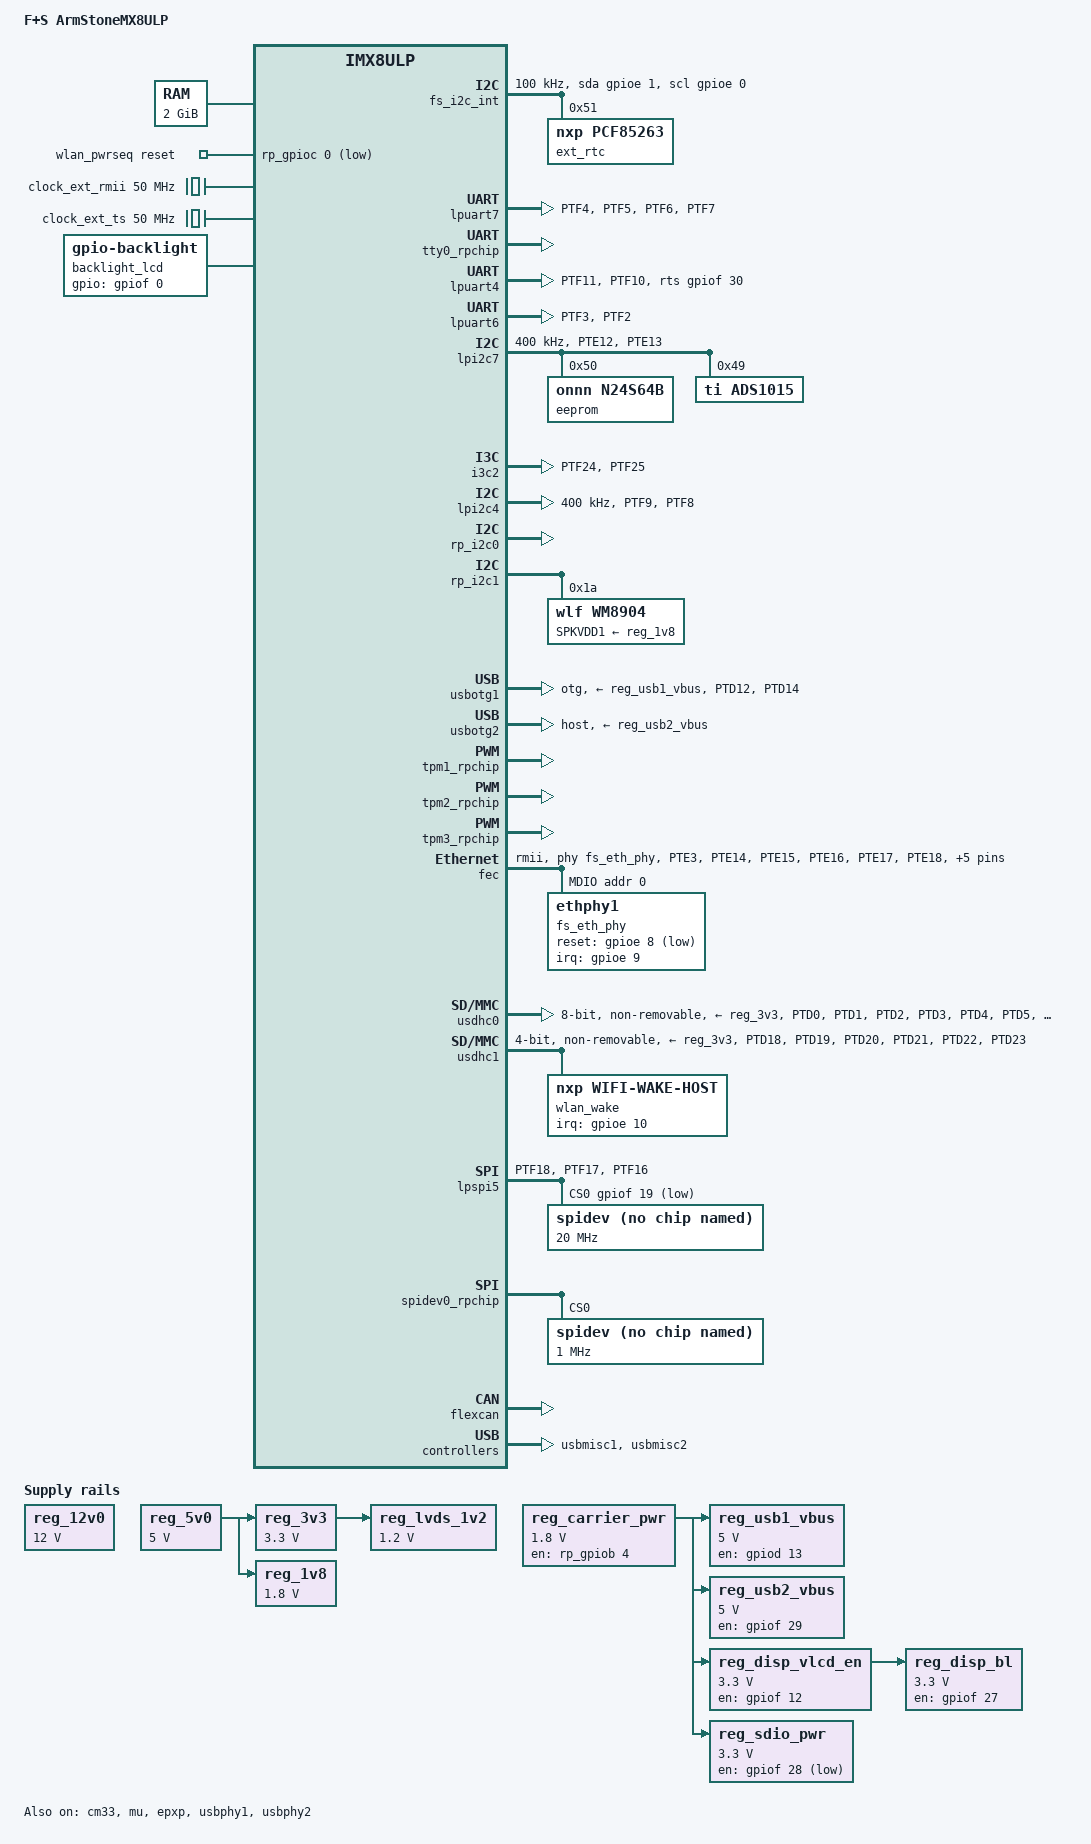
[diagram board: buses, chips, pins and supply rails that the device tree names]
// SPDX-License-Identifier: GPL-2.0
/*
* Copyright 2026 F&S Elektronik Systeme GmbH
*
* This program is free software; you can redistribute it and/or modify
* it under the terms of the GNU General Public License version 2 as
* published by the Free Software Foundation.
*
* This program is distributed in the hope that it will be useful,
* but WITHOUT ANY WARRANTY; without even the implied warranty of
* MERCHANTABILITY or FITNESS FOR A PARTICULAR PURPOSE.  See the
* GNU General Public License for more details.
*/

#include "imx8ulp.dtsi"
#include "fsimx8ulp-rpmsg.dtsi"
#include <dt-bindings/rtc/pcf85363.h>
#include <dt-bindings/input/input.h>
#include <dt-bindings/i3c/i3c.h>
#include <fsversion.h>

#define OSM8ULP_REV 100

#define CONFIG_ARMSTONEMX8ULP_LVDS
// #define CONFIG_ARMSTONEMX8ULP_MIPI_DSI
#define CONFIG_ARMSTONEMX8ULP_WLAN

fs_uart_a: &lpuart7 {};
fs_uart_b: &tty0_rpchip {};
fs_uart_c: &lpuart4 {};
fs_uart_d: &lpuart6 {};
/* UART_E is M33 DBG */
fs_i2c_a: &lpi2c7 {};
fs_i2c_b: &i3c2 {};
fs_i2c_c: &lpi2c4 {};
fs_i2c_d: &rp_i2c0 {};
fs_i2c_e: &rp_i2c1 {};
fs_usb_a: &usbotg1 {};
fs_usb_b: &usbotg2 {};
fs_pwm_1: &tpm1_rpchip {};
fs_pwm_2: &tpm2_rpchip {};
fs_pwm_3: &tpm3_rpchip {};
fs_eth: &fec {};
emmc: &usdhc0 {};
sdio: &usdhc1 {};
fs_spi_a: &lpspi5 {};
fs_spi_b: &spidev0_rpchip {};

/ {
	model = "F+S ArmStoneMX8ULP";
	compatible = "fus,armstonemx8ulp", "fsl,imx8ulp";

	chosen {
		bootargs = "console=ttyLP0, 115200";
		stdout-path = &fs_uart_a;
	};

	/delete-node/ aliases;
	aliases {
		ethernet0 = &fs_eth;
		serial0 = &fs_uart_a;
		serial1 = &fs_uart_b;
		serial2 = &fs_uart_c;
		serial3 = &fs_uart_d;
		i2c0 = &fs_i2c_int;
		i2c1 = &fs_i2c_a;
		i2c2 = &fs_i2c_b;
		i2c3 = &fs_i2c_c;
		i2c4 = &fs_i2c_d;
		i2c5 = &fs_i2c_e;
		mmc0 = &emmc;
		mmc1 = &sdio;
		gpio0 = &rp_gpioa;
		gpio1 = &rp_gpiob;
		gpio2 = &rp_gpioc;
		gpio3 = &gpiod;
		gpio4 = &gpioe;
		gpio5 = &gpiof;
		usbphy0 = &usbphy1;
		usbphy1 = &usbphy2;
		usb0 = &fs_usb_a;
		usb1 = &fs_usb_b;
		rtc0 = &ext_rtc;
		pwm1 = &fs_pwm_1;
		pwm2 = &fs_pwm_2;
		pwm3 = &fs_pwm_3;
		isi0 = &isi_0;
		csi0 = &mipi_csi0;
		spi0 = &fs_spi_a;
		spi1 = &fs_spi_b;
	};

	/* -------------------- BOARD INFO -------------------- */
	bdinfo: bdinfo {
		compatible = "bdinfo";
		dts_version = FS_LINUX_VERSION;
	};

	memory@80000000 {
		/* fixup in u-boot */
		device_type = "memory";
		reg = <0x0 0x80000000 0 0x80000000>;
	};

	reserved-memory {
		#address-cells = <2>;
		#size-cells = <2>;
		ranges;

		linux,cma {
			compatible = "shared-dma-pool";
			reusable;
			size = <0 0x10000000>; /* 256MB */
			linux,cma-default;
		};

		ele_reserved: ele-reserved@90000000 {
			compatible = "shared-dma-pool";
			reg = <0 0x90000000 0 0x100000>;
			no-map;
		};
	};

	regulators {
		compatible = "simple-bus";
		#address-cells = <1>;
		#size-cells = <0>;

		reg_12v0: regulator-12v {
			compatible = "regulator-fixed";
			regulator-name = "V_BL_IN";
			regulator-min-microvolt = <12000000>;
			regulator-max-microvolt = <12000000>;
			regulator-always-on;
			regulator-boot-on;
		};

		reg_5v0: regulator-5v {
			compatible = "regulator-fixed";
			regulator-name = "5V0";
			regulator-min-microvolt = <5000000>;
			regulator-max-microvolt = <5000000>;
			regulator-always-on;
			regulator-boot-on;
		};

		reg_3v3: regulator-3v3 {
			compatible = "regulator-fixed";
			regulator-name = "3V3";
			regulator-min-microvolt = <3300000>;
			regulator-max-microvolt = <3300000>;
			vin-supply = <&reg_5v0>;
			regulator-always-on;
			regulator-boot-on;
		};

		reg_1v8: regulator-1v8 {
			compatible = "regulator-fixed";
			regulator-name = "1V8";
			regulator-min-microvolt = <1800000>;
			regulator-max-microvolt = <1800000>;
			vin-supply = <&reg_5v0>;
			regulator-always-on;
			regulator-boot-on;
		};

		reg_carrier_pwr: regulator_carrier {
			compatible = "regulator-fixed";
			regulator-name = "carrier_pwr";
			regulator-min-microvolt = <1800000>;
			regulator-max-microvolt = <1800000>;
			gpio = <&rp_gpiob 4 GPIO_ACTIVE_HIGH>;
			enable-active-high;
			regulator-always-on;
			regulator-boot-on;
		};

		reg_usb1_vbus: regulator-usb1-vbus {
			compatible = "regulator-fixed";
			regulator-name = "usb1_vbus";
			regulator-min-microvolt = <5000000>;
			regulator-max-microvolt = <5000000>;
			gpio = <&gpiod 13 GPIO_ACTIVE_HIGH>;
			vin-supply = <&reg_carrier_pwr>;
			enable-active-high;
		};

		reg_usb2_vbus: regulator-usb2-vbus {
			compatible = "regulator-fixed";
			regulator-name = "usb2_vbus";
			regulator-min-microvolt = <5000000>;
			regulator-max-microvolt = <5000000>;
			gpio = <&gpiof 29 GPIO_ACTIVE_HIGH>;
			vin-supply = <&reg_carrier_pwr>;
			enable-active-high;
		};

		reg_disp_vlcd_en: regulator_disp_vdd_en {
			compatible = "regulator-fixed";
			regulator-name = "display-vdd-en";
			gpio = <&gpiof 12 GPIO_ACTIVE_HIGH>;
			regulator-min-microvolt = <3300000>;
			regulator-max-microvolt = <3300000>;
			vin-supply = <&reg_carrier_pwr>;
			enable-active-high;
		};

		reg_disp_bl: regulator_disp_bl {
			compatible = "regulator-fixed";
			regulator-name = "display-bl-en";
			gpio = <&gpiof 27 GPIO_ACTIVE_HIGH>;
			regulator-min-microvolt = <3300000>;
			regulator-max-microvolt = <3300000>;
			vin-supply = <&reg_disp_vlcd_en>;
			enable-active-high;
		};

		reg_lvds_1v2: regulator-lvds-1v2 {
			compatible = "regulator-fixed";
			regulator-name = "V_LVDS_1V2";
			regulator-min-microvolt = <1200000>;
			regulator-max-microvolt = <1200000>;
			vin-supply = <&reg_3v3>;
			regulator-always-on;
			regulator-boot-on;
		};

		reg_sdio_pwr: regulator-sdio-pwr {
			compatible = "regulator-fixed";
			regulator-name = "SDIO_PWR_EN";
			gpio = <&gpiof 28 GPIO_ACTIVE_LOW>;
			regulator-min-microvolt = <3300000>;
			regulator-max-microvolt = <3300000>;
			vin-supply = <&reg_carrier_pwr>;
			enable-active-low;
		};

		wlan_pwrseq: wlan_pwrseq {
			compatible = "mmc-pwrseq-simple";
			reset-gpios = <&rp_gpioc 0 GPIO_ACTIVE_LOW>;
		};
	};

	clock_ext_rmii: clock-ext-rmii {
		compatible = "fixed-clock";
		clock-frequency = <50000000>;
		clock-output-names = "ext_rmii_clk";
		#clock-cells = <0>;
	};

	clock_ext_ts: clock-ext-ts {
		compatible = "fixed-clock";
		clock-frequency = <50000000>;
		clock-output-names = "ext_ts_clk";
		#clock-cells = <0>;
	};

	/* NOTE: PTF0 can not be PWM */
	backlight_lcd: backlight_lcd {
		compatible = "gpio-backlight";
		gpios = <&gpiof 0 GPIO_ACTIVE_HIGH>;
		default-on;
	};

	rpmsg_audio: rpmsg-audio {
			compatible = "fsl,imx8ulp-rpmsg-audio";
			model = "wm8904-audio";
			fsl,rpmsg-out;
			fsl,rpmsg-in;
			audio-codec = <&wm8904>;
			memory-region = <&audio_reserved>;
			fsl,lpa-widgets =
				"HPOUTL", "HPOUTR", "Playback",
				"Capture", "IN2L", "IN2R";
			status = "okay";
	};
};

/* SUPPORT_RPMSG */
&{/reserved-memory} {
	m33_reserved: noncacheable-section@a8600000 {
		reg = <0 0xa8600000 0 0x1000000>;
		no-map;
	};

	rsc_table: rsc-table@1fff8000{
		reg = <0 0x1fff8000 0 0x1000>;
		no-map;
	};

	vdev0vring0: vdev0vring0@aff00000 {
		reg = <0 0xaff00000 0 0x8000>;
		no-map;
	};

	vdev0vring1: vdev0vring1@aff08000 {
		reg = <0 0xaff08000 0 0x8000>;
		no-map;
	};

	vdev1vring0: vdev1vring0@aff10000 {
		reg = <0 0xaff10000 0 0x8000>;
		no-map;
	};

	vdev1vring1: vdev1vring1@aff18000 {
		reg = <0 0xaff18000 0 0x8000>;
		no-map;
	};

	vdevbuffer: vdevbuffer@a8400000 {
		compatible = "shared-dma-pool";
		reg = <0 0xa8400000 0 0x100000>;
		no-map;
	};

	audio_reserved: audio@a8500000 {
			compatible = "shared-dma-pool";
			no-map;
			reg = <0 0xa8500000 0 0x100000>;
	};
};

/* remoteproc */
&cm33 {
	mbox-names = "tx", "rx", "rxdb";
	mboxes = <&mu 0 1>,
		 <&mu 1 1>,
		 <&mu 3 1>;
	memory-region = <&vdevbuffer>, <&vdev0vring0>, <&vdev0vring1>,
			<&vdev1vring0>, <&vdev1vring1>, <&rsc_table>;
	status = "okay";
};

/* MU M33 <--> A35 */
&mu {
	status = "okay";
};

&rp_i2c0 {
	#address-cells = <1>;
	#size-cells = <0>;
	status = "okay";
};

&rp_i2c1 {
	#address-cells = <1>;
	#size-cells = <0>;
	status = "okay";
};

&rp_gpioa {
	status = "okay";
	gpio-line-names = 
	/* 0-4 */ "", "", "UART_B_TX", "UART_B_RX", "SPI_B_SDO",
	/* 5-9 */ "SPI_B_SDI", "SPI_B_SCK", "SPI_B_CS0", "", "PWM_1",
	/* 10-14 */ "", "", "CAN_TX", "CAN_RX", "I2C_B_SCL",
	/* 15-19 */ "I2C_B_SDA", "UART_B_CTS", "UART_B_RTS", "", "",
	/* 20-24 */ "", "", "", "", "",
	/* 25-29 */ "", "", "", "", "",
	/* 30-31 */ "","";
};

&rp_gpiob {
	status = "okay";
	gpio-line-names = 
	/* 0-4 */ "PDM_MIC_CLK", "PDM_MIC_DATA", "UART_C_TX", "UART_C_RX", "",
	/* 5-9 */ "PDM_MIC_L_R", "", "", "", "",
	/* 10-14 */ "", "", "CAM_MCK", "CAM_EN", "",
	/* 15-19 */ "", "", "", "", "",
	/* 20-24 */ "", "", "", "", "",
	/* 25-29 */ "", "", "", "", "",
	/* 30-31 */ "","";
};

&rp_gpioc {
	status = "okay";
	gpio-line-names = 
	/* 0-4 */ "WLAN_BT_EN", "", "PWM_2", "", "I2S_A_DATA_IN",
	/* 5-9 */ "", "", "I2S_A_DATA_OUT", "I2S_BITCLK", "I2S_LRCLK",
	/* 10-14 */ "I2S_MCLK", "", "PWM_3", "", "BT_WAKE_HOST",
	/* 15-19 */ "BT_WAKE_DEV", "WM8904_IRQ", "", "", "",
	/* 20-24 */ "", "", "", "", "",
	/* 25-29 */ "", "", "", "", "",
	/* 30-31 */ "","";
};

&gpiod {
	pinctrl-names = "default";
	pinctrl-0 = <&pinctrl_gpiod>;
	gpio-line-names = 
	/* 0-4 */ "SD_eMMC_RST", "SD_eMMC_CMD", "SD_eMMC_CLK", "SD_eMMC_D7", "SD_eMMC_D6",
	/* 5-9 */ "SD_eMMC_D5", "SD_eMMC_D4", "SD_eMMC_D3", "SD_eMMC_D2", "SD_eMMC_D1",
	/* 10-14 */ "SD_eMMC_D0", "SD_eMMC_DS", "USB_A_ID", "USB_A_EN", "USB_A_OC",
	/* 15-19 */ "LVDS_RST", "SDIO_CD", "LVDS_STBY", "SDIO_D3", "SDIO_D2",
	/* 20-24 */ "SDIO_D1", "SDIO_D0", "SDIO_CLK", "SDIO_CMD", "",
	/* 25-29 */ "", "", "", "", "",
	/* 30-31 */ "","";
	status = "okay";
};

&gpioe {
	pinctrl-names = "default";
	pinctrl-0 = <&pinctrl_gpioe>;
	gpio-line-names = 
	/* 0-4 */ "", "", "WLAN_WAKE_DEV", "", "",
	/* 5-9 */ "USB_B_OC", "SE050_ENA", "", "KSZ8081_RST", "KSZ8081_IRQ",
	/* 10-14 */ "WLAN_IRQ", "WLAN_WAKE_HOST", "I2C_A_SCL", "I2C_A_SDA", "I2C_E_SCL",
	/* 15-19 */ "I2C_E_SDA", "ETH_RMII_TX_EN", "ETH_RMII_RX_ER", "ETH_RMII_CRS_DV", "ETH_RMII_REF_CLK",
	/* 20-24 */ "ETH_RMII_RXD1", "ETH_RMII_RXD0", "ETH_RMII_TXD1", "ETH_RMII_TXD0", "",
	/* 25-29 */ "", "", "", "", "",
	/* 30-31 */ "","";
	status = "okay";
};

&gpiof {
	pinctrl-names = "default";
	pinctrl-0 = <&pinctrl_gpiof>;
	/* DISP_BL_EN and DISP_BL_PWM may be swaped */
	gpio-line-names = 
	/* 0-4 */ "BL_PWM", "DISP_RST", "UART_D_TX", "UART_D_RX", "UART_A_CTS",
	/* 5-9 */ "UART_A_RTS", "UART_A_TX", "UART_A_RX", "I2C_C_SDA", "I2C_C_SCL",
	/* 10-14 */ "UART_C_TX", "UART_C_RX", "DISP_VLCD_EN", "GPIO_GPCON_4", "TOUCH_IRQ",
	/* 15-19 */ "GPIO_FCON_26", "SPI_A_SDI", "SPI_A_SDO", "SPI_A_SCK", "SPI_A_CS0",
	/* 20-24 */ "GPIO_FCON_9", "GPIO_FCON_7", "GPIO_FCON_5", "GPIO_FCON_3", "I2C_B_SCL",
	/* 25-29 */ "I2C_B_SDA", "GPIO_GPCON_5", "BL_EN", "SDIO_PWR_EN", "USB_B_EN",
	/* 30-31 */ "RS485_DE_EN","ADS1015_ALERT";
	status = "okay";
};

/* ETHERNET decleration */
&fs_eth {
	pinctrl-names = "default", "sleep";
	pinctrl-0 = <&pinctrl_enet>;
	pinctrl-1 = <&pinctrl_enet>;
	clocks = <&cgc1 IMX8ULP_CLK_XBAR_DIVBUS>,
		 <&pcc4 IMX8ULP_CLK_ENET>,
		 <&cgc1 IMX8ULP_CLK_ENET_TS_SEL>,
		 <&clock_ext_rmii>;
	clock-names = "ipg", "ahb", "ptp", "enet_clk_ref";
	assigned-clocks = <&cgc1 IMX8ULP_CLK_ENET_TS_SEL>;
	assigned-clock-parents = <&clock_ext_ts>;
	phy-mode = "rmii";
	phy-handle = <&fs_eth_phy>;
	status = "okay";

	mdio {
		#address-cells = <1>;
		#size-cells = <0>;
		fs_eth_phy: ethphy1@0 {
			reg = <0>;
			interrupt-parent = <&gpioe>;
			interrupts = <9 IRQ_TYPE_EDGE_FALLING>;
			reset-gpios = <&gpioe 8 GPIO_ACTIVE_LOW>;
		};
	};
};

&fs_uart_a {
	pinctrl-names = "default", "sleep";
	pinctrl-0 = <&pinctrl_lpuart7>;
	pinctrl-1 = <&pinctrl_lpuart7>;
	status = "okay";
};

&fs_uart_b {
	status = "okay";
};

&fs_uart_c {
	pinctrl-names = "default", "sleep";
	pinctrl-0 = <&pinctrl_lpuart4>;
	pinctrl-1 = <&pinctrl_lpuart4>;
	rts-gpios = <&gpiof 30 GPIO_ACTIVE_HIGH>;
	linux,rs485-enabled-at-boot-time;
	status = "okay";
};

&fs_uart_d {
	pinctrl-names = "default", "sleep";
	pinctrl-0 = <&pinctrl_lpuart6>;
	pinctrl-1 = <&pinctrl_lpuart6>;
	status = "okay";
};

#if OSM8ULP_REV == 100
/ {
	fs_i2c_int: i2c-gpio{
		compatible = "i2c-gpio";
		#address-cells = <1>;
		#size-cells = <0>;
		clock-frequency = <100000>;
		gpios = <&gpioe 1 GPIO_ACTIVE_HIGH>, <&gpioe 0 GPIO_ACTIVE_HIGH>;
		gpio-scl-open-drain;
		gpio-sda-open-drain;
		status = "okay";

		ext_rtc: rtc85263@51 {
			compatible = "nxp,pcf85263";
			reg = <0x51>;
			clock-out = <PCF85363_COF_32768Hz>;
			quartz-load-femtofarads = <PCF85363_CAP_12p5pF>;
			quartz-drive-strength = <PCF85363_OSC_DRIVE_LOW>;
		};
	};
};
#endif

&fs_i2c_a {
	#address-cells = <1>;
	#size-cells = <0>;
	pinctrl-names = "default", "sleep";
	pinctrl-0 = <&pinctrl_lpi2c7>;
	pinctrl-1 = <&pinctrl_lpi2c7>;
	clock-frequency = <400000>;
	status = "okay";

#if OSM8ULP_REV >= 110
	ext_rtc: rtc85263@51 {
		compatible = "nxp,pcf85263";
		reg = <0x51>;
		clock-out = <PCF85363_COF_32768Hz>;
		quartz-load-femtofarads = <PCF85363_CAP_12p5pF>;
		quartz-drive-strength = <PCF85363_OSC_DRIVE_LOW>;
	};
#endif

	eeprom: eeprom@50 {
		compatible = "onnn,n24s64b", "atmel,24c64";
		reg = <0x50>;
		size = <8192>;
		pagesize = <32>;
	};

	ads1015: ads1015@49 {
		compatible = "ti,ads1015";
		reg = <0x49>;
		#address-cells = <1>;
		#size-cells = <0>;
		channel@4 {
			reg = <4>;
			ti,gain = <2>;
			ti,datarate = <4>;
		};
		channel@5 {
			reg = <5>;
			ti,gain = <2>;
			ti,datarate = <4>;
		};
		channel@6 {
			reg = <6>;
			ti,gain = <2>;
			ti,datarate = <4>;
		};
		channel@7 {
			reg = <7>;
			ti,gain = <2>;
			ti,datarate = <4>;
		};
	};

	lvds_bridge: tc358775@f {
		compatible = "toshiba,tc358775";
		reg = <0x0f>;
		vdd-supply = <&reg_lvds_1v2>;
		vddio-supply = <&reg_1v8>;
		reset-gpios = <&gpiod 15 GPIO_ACTIVE_LOW>;
		stby-gpios  = <&gpiod 17 GPIO_ACTIVE_LOW>;
		framesync-mode;
		status = "disabled";

		ports {
			#address-cells = <1>;
			#size-cells = <0>;

			port@0 {
				#address-cells = <1>;
				#size-cells = <0>;
				reg = <0>;

#if defined(CONFIG_ARMSTONEMX8ULP_LVDS)
				lvds_from_dsi: endpoint {
					remote-endpoint = <&dsi_to_lvds>;
				};
#endif
			};

			port@1 {
				#address-cells = <1>;
				#size-cells = <0>;
				reg = <1>;
#if defined(CONFIG_ARMSTONEMX8ULP_LVDS)
				lvds_to_panel: endpoint {
				};
#endif
			};
		};
	};
};

&fs_i2c_b {
	pinctrl-names = "default", "sleep";
	pinctrl-0 = <&pinctrl_lpi3c2>;
	pinctrl-1 = <&pinctrl_lpi3c2>;
	i2c-scl-hz = <400000>;
	status = "okay";
};

&fs_i2c_c {
	#address-cells = <1>;
	#size-cells = <0>;
	pinctrl-names = "default", "sleep";
	pinctrl-0 = <&pinctrl_lpi2c4>;
	pinctrl-1 = <&pinctrl_lpi2c4>;
	clock-frequency = <400000>;
	status = "okay";
};

&fs_i2c_d {
	#address-cells = <1>;
	#size-cells = <0>;
	status = "okay";
};

&fs_i2c_e {
	#address-cells = <1>;
	#size-cells = <0>;
	status = "okay";

	wm8904: wm8904@1a {
		compatible = "wlf,wm8904";
		#sound-dai-cells = <0>;
		reg = <0x1a>;
		clocks = <&sgtl5000_mclk>;
		clock-names = "mclk";
		wlf,shared-lrclk;
		wlf,gpio-cfg = <1 0>;
		SPKVDD1-supply = <&reg_1v8>;
	};
};

&emmc {
	pinctrl-names = "default", "state_100mhz", "state_200mhz", "sleep";
	pinctrl-0 = <&pinctrl_usdhc0>;
	pinctrl-1 = <&pinctrl_usdhc0>;
	pinctrl-2 = <&pinctrl_usdhc0>;
	pinctrl-3 = <&pinctrl_usdhc0>;
	bus-width = <8>;
	non-removable;
	vmmc-supply = <&reg_3v3>;
	vqmmc-supply = <&reg_1v8>;
	status = "okay";
};

&sdio {
	pinctrl-names = "default", "state_100mhz", "state_200mhz", "sleep";
	pinctrl-0 = <&pinctrl_usdhc1>;
	pinctrl-1 = <&pinctrl_usdhc1>;
	pinctrl-2 = <&pinctrl_usdhc1>;
	pinctrl-3 = <&pinctrl_usdhc1>;
	bus-width = <4>;
	status = "okay";
#ifdef CONFIG_ARMSTONEMX8ULP_WLAN
	mmc-pwrseq = <&wlan_pwrseq>;
	vmmc-supply = <&reg_3v3>;
	vqmmc-supply = <&reg_1v8>;
	vqmmc-1-8-v;
	bus-width = <4>;
	keep-power-in-suspend;
	non-removable;
	wakeup-source;

	wlan_wake: wifi_wake_host {
		compatible = "nxp,wifi-wake-host";
		interrupt-parent = <&gpioe>;
		interrupts = <10 IRQ_TYPE_LEVEL_LOW>;
		interrupt-names = "host-wake";
	};
#else
	vmmc-supply = <&reg_sdio_pwr>;
	vqmmc-supply = <&reg_sdio_pwr>;
	cd-gpios = <&gpiod 16 GPIO_ACTIVE_LOW>;
	no-1-8-v;
#endif
};

&flexcan {
	status = "okay";
};

&fs_pwm_1 {
	status = "okay";
};

&fs_pwm_2 {
	status = "okay";
};

&fs_pwm_3 {
	status = "okay";
};

/* Secure Enclave */
&ele_fw2 {
	memory-region = <&ele_reserved>;
};

&epxp {
	status = "okay";
};

&dcnano {
	status = "disabled";
};

&dphy {
	status = "disabled";
};

&dsi {
	status = "disabled";
#if defined(CONFIG_ARMSTONEMX8ULP_LVDS)
	ports {
		port@1 {
			#address-cells = <1>;
			#size-cells = <0>;
			reg = <1>;
			dsi_to_lvds: endpoint {
				remote-endpoint = <&lvds_from_dsi>;
				data-lanes = <0 1 2 3>;
				attach-bridge;
			};
		};
	};
#endif /* CONFIG_ARMSTONEMX8ULP_LVDS */
};

&fs_spi_a {
	pinctrl-names = "default", "sleep";
	pinctrl-0 = <&pinctrl_lpspi5>;
	pinctrl-1 = <&pinctrl_lpspi5>;
	fsl,spi-num-chipselects = <1>;
	cs-gpios = <&gpiof 19 GPIO_ACTIVE_LOW>;
	status = "okay";

	spidev@0 {
		compatible = "linux,spidev";
		spi-max-frequency = <20000000>;
		reg = <0>;
		status = "okay";
	};
};

&fs_spi_b {
	status = "okay";

	spidev@0 {
		/* use default driver */
		compatible = "linux,spidev";
		spi-max-frequency = <1000000>;
		reg = <0>;
		status = "okay";
	};
};

&usbmisc1 {
	status = "okay";
};

&usbphy1 {
	status = "okay";
};

&fs_usb_a {
	pinctrl-names = "default", "sleep";
	pinctrl-0 = <&pinctrl_otgid1>;
	pinctrl-1 = <&pinctrl_otgid1>;
	vbus-supply = <&reg_usb1_vbus>;
	dr_mode = "otg";
	hnp-disable;
	srp-disable;
	adp-disable;
	disable-over-current;
	status = "okay";
};

&usbmisc2 {
	status = "okay";
};

&usbphy2 {
	status = "okay";
};

&fs_usb_b {
	vbus-supply = <&reg_usb2_vbus>;
	dr_mode = "host";
	power-active-high;
	disable-over-current;
	status = "okay";
};

&iomuxc1 {
	pinctrl_gpiof: gpiofgrp {
		fsl,pins = <
			/* SDIO_PWR_EN */
			MX8ULP_PAD_PTF28__PTF28		0x2
			/* GPIO_FCON_3 */
			MX8ULP_PAD_PTF23__PTF23		0x2
			/* GPIO_FCON_5 */
			MX8ULP_PAD_PTF22__PTF22		0x2
			/* GPIO_FCON_7 */
			MX8ULP_PAD_PTF21__PTF21		0x2
			/* GPIO_FCON_9 */
			MX8ULP_PAD_PTF20__PTF20		0x2
			/* GPIO_FCON_26 */
			MX8ULP_PAD_PTF15__PTF15		0x2
			/* GPIO_TOUCH_IRQ */
			MX8ULP_PAD_PTF14__PTF14		0x2
			/* GPIO_GPCON_4 */
			MX8ULP_PAD_PTF13__PTF13		0x2
			/* DISP_VLCD_EN */
			MX8ULP_PAD_PTF12__PTF12		0x2
			/* GPIO_GPCON_5 */
			MX8ULP_PAD_PTF26__PTF26		0x2
			/* DISP_RST */
			MX8ULP_PAD_PTF1__PTF1		0x2
			/* BL_EN */
			MX8ULP_PAD_PTF27__PTF27		0x2
			/* BL_PWM */
			/* NOTE: No TPM muxing availabe! */
			MX8ULP_PAD_PTF0__PTF0		0x2
			/* USB_B_EN */
			MX8ULP_PAD_PTF29__PTF29		0x2
			/* RS485_DE_RE */
			MX8ULP_PAD_PTF30__PTF30		0x3
			/* ADS1015_ALERT */
			MX8ULP_PAD_PTF31__PTF31		0x2
			/* SPI_B_CS0 */
			MX8ULP_PAD_PTF19__PTF19		0x3
		>;
	};

	pinctrl_gpioe: gpioegrp {
		fsl,pins = <
			/* USB_B_OC */
			MX8ULP_PAD_PTE5__PTE5		0x2
			/* WLAN_WAKE_DEV */
			MX8ULP_PAD_PTE4__PTE4		0x2
			/* WLAN_IRQ */
			MX8ULP_PAD_PTE10__PTE10		0x2
			/* WLAN_WAKE_HOST */
			MX8ULP_PAD_PTE11__PTE11		0x2
			/* KSZ8081_RST */
			MX8ULP_PAD_PTE8__PTE8		0x3
			/* KSZ8081_INT */
			MX8ULP_PAD_PTE9__PTE9		0x3
			/* SE050_EN */
			MX8ULP_PAD_PTE6__PTE6		0x2
#if OSM8ULP_REV == 100
			/* I2C_INT SCL */
			MX8ULP_PAD_PTE0__PTE0		0x20
			/* I2C_INT SDA */
			MX8ULP_PAD_PTE1__PTE1		0x20
#endif
		>;
	};

	pinctrl_gpiod: gpiodgrp {
		fsl,pins = <
			/* SDIO_CD */
			MX8ULP_PAD_PTD16__PTD16		0x2
			/* LVDS_STBY */
			MX8ULP_PAD_PTD17__PTD17		0x2
			/* LVDS_RST */
			MX8ULP_PAD_PTD15__PTD15		0x2
			/* USB_A_EN */
			MX8ULP_PAD_PTD13__PTD13		0x2
		>;
	};

	pinctrl_lpuart4: lpuart4grp {
		fsl,pins = <
			MX8ULP_PAD_PTF11__LPUART4_RX	0x3
			MX8ULP_PAD_PTF10__LPUART4_TX	0x3
		>;
	};

	pinctrl_lpuart6: lpuart6grp {
		fsl,pins = <
			MX8ULP_PAD_PTF3__LPUART6_RX	0x3
			MX8ULP_PAD_PTF2__LPUART6_TX	0x3
		>;
	};

	pinctrl_lpuart7: lpuart7grp {
		fsl,pins = <
			MX8ULP_PAD_PTF4__LPUART7_CTS_B	0x3
			MX8ULP_PAD_PTF5__LPUART7_RTS_B	0x3
			MX8ULP_PAD_PTF6__LPUART7_TX	0x3
			MX8ULP_PAD_PTF7__LPUART7_RX	0x3
		>;
	};

	pinctrl_lpi2c7: lpi2c7grp {
		fsl,pins = <
			MX8ULP_PAD_PTE12__LPI2C7_SCL	0x20
			MX8ULP_PAD_PTE13__LPI2C7_SDA	0x20
		>;
	};

	pinctrl_lpi2c4: lpi2c4grp {
		fsl,pins = <
			MX8ULP_PAD_PTF9__LPI2C4_SDA	0x20
			MX8ULP_PAD_PTF8__LPI2C4_SCL	0x20
		>;
	};

	pinctrl_lpi3c2: lpi3c2grp {
		fsl,pins = <
			MX8ULP_PAD_PTF24__I3C2_SCL	0x20
			MX8ULP_PAD_PTF25__I3C2_SDA	0x20
		>;
	};

	pinctrl_enet: enetgrp {
		fsl,pins = <
			MX8ULP_PAD_PTE3__ENET0_TXCLK	0x43
			MX8ULP_PAD_PTE14__ENET0_MDIO	0x43
			MX8ULP_PAD_PTE15__ENET0_MDC     0x43
			MX8ULP_PAD_PTE16__ENET0_TXEN	0x43
			MX8ULP_PAD_PTE17__ENET0_RXER	0x43
			MX8ULP_PAD_PTE18__ENET0_CRS_DV	0x42 //PHYAD[1:0]
			MX8ULP_PAD_PTE19__ENET0_REFCLK	0x42 //PHYAD[2]
			MX8ULP_PAD_PTE20__ENET0_RXD1	0x43
			MX8ULP_PAD_PTE21__ENET0_RXD0	0x43
			MX8ULP_PAD_PTE22__ENET0_TXD1	0x43
			MX8ULP_PAD_PTE23__ENET0_TXD0	0x43
		>;
	};

	pinctrl_usdhc0: usdhc0grp {
		fsl,pins = <
			MX8ULP_PAD_PTD0__SDHC0_RESET_B 		0x3
			MX8ULP_PAD_PTD1__SDHC0_CMD		0x3
			MX8ULP_PAD_PTD2__SDHC0_CLK		0x10002
			MX8ULP_PAD_PTD3__SDHC0_D7		0x3
			MX8ULP_PAD_PTD4__SDHC0_D6		0x3
			MX8ULP_PAD_PTD5__SDHC0_D5		0x3
			MX8ULP_PAD_PTD6__SDHC0_D4		0x3
			MX8ULP_PAD_PTD7__SDHC0_D3		0x3
			MX8ULP_PAD_PTD8__SDHC0_D2		0x3
			MX8ULP_PAD_PTD9__SDHC0_D1		0x3
			MX8ULP_PAD_PTD10__SDHC0_D0		0x3
			MX8ULP_PAD_PTD11__SDHC0_DQS		0x10002
		>;
	};

	pinctrl_usdhc1: usdhc1grp {
		fsl,pins = <
			MX8ULP_PAD_PTD18__SDHC1_D3	0x3
			MX8ULP_PAD_PTD19__SDHC1_D2	0x3
			MX8ULP_PAD_PTD20__SDHC1_D1	0x3
			MX8ULP_PAD_PTD21__SDHC1_D0	0x3
			MX8ULP_PAD_PTD22__SDHC1_CLK	0x10002
			MX8ULP_PAD_PTD23__SDHC1_CMD	0x3
		>;
	};

	pinctrl_lpspi5: lpspi5grp {
		fsl,pins = <
			MX8ULP_PAD_PTF18__LPSPI5_SCK	0x3
			MX8ULP_PAD_PTF17__LPSPI5_SOUT	0x3
			MX8ULP_PAD_PTF16__LPSPI5_SIN	0x3
		>;
	};

	pinctrl_otgid1: usb1grp {
		fsl,pins = <
			MX8ULP_PAD_PTD12__USB0_ID	0x10003
			MX8ULP_PAD_PTD14__USB0_OC	0x10003
		>;
	};
};
